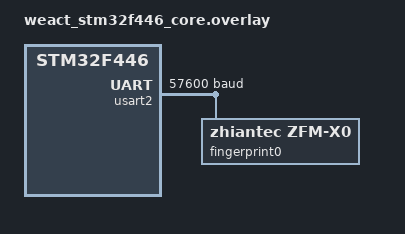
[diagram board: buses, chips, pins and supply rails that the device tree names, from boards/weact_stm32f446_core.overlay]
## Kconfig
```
menu "Biores Options"

config TEST_LEGACY_BLOCKING
	bool "Use legacy busy-wait baseline instead of BASE"
	default n
	help
	  When enabled, tau2 uses k_busy_wait(500000) to simulate
	  a vendor polling library during image capture.
	  When disabled, tau2 uses the BASE biometric subsystem
	  with interrupt-driven enroll_capture.

endmenu

source "Kconfig.zephyr"
```

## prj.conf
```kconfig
CONFIG_BIOMETRICS=y
CONFIG_BIOMETRICS_LOG_LEVEL_INF=y

CONFIG_TIMING_FUNCTIONS=y

CONFIG_STDOUT_CONSOLE=y
CONFIG_PRINTK=y
CONFIG_LOG=y
CONFIG_LOG_DEFAULT_LEVEL=3

CONFIG_MAIN_STACK_SIZE=2048

# Set to y to run legacy busy-wait baseline, n for BASE mode
CONFIG_TEST_LEGACY_BLOCKING=n

CONFIG_THREAD_ANALYZER=y
CONFIG_THREAD_ANALYZER_USE_PRINTK=y
CONFIG_THREAD_ANALYZER_AUTO=n
```

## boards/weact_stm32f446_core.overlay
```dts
/ {
	aliases {
		biometric0 = &fingerprint0;
	};
};

&usart2 {
	status = "okay";
	current-speed = <57600>;

	fingerprint0: fingerprint0 {
		compatible = "zhiantec,zfm-x0";
		status = "okay";
		comm-addr = <0xffffffff>;
	};
};
```

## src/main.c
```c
/*
 * BASE Concurrent Workload Test
 *
 * Measures deadline adherence of a high-priority control task (tau1)
 * while a low-priority biometric task (tau2) runs a 500ms capture.
 *
 * Two modes selected at compile time:
 *   CONFIG_TEST_LEGACY_BLOCKING=y  -> tau2 uses k_sched_lock + k_busy_wait
 *                                     (simulates non-preemptible vendor driver)
 *   CONFIG_TEST_LEGACY_BLOCKING=n  -> tau2 uses biometric_enroll_capture
 *                                     (BASE hybrid yielding model)
 *
 * Output over UART:
 *   [RESULT] tau1 periods: N samples, max_jitter=Xus, missed=Y
 */

#include <zephyr/device.h>
#include <zephyr/drivers/biometrics.h>
#include <zephyr/kernel.h>
#include <zephyr/logging/log.h>
#include <zephyr/sys/printk.h>
#include <zephyr/timing/timing.h>

LOG_MODULE_REGISTER(base_test, LOG_LEVEL_INF);

/* tau1: high-priority control loop, period 10ms, deadline 10ms */
#define TAU1_PERIOD_US 10000U
#define TAU1_DEADLINE_US 10000U
#define TAU1_STACK_SIZE 1024
#define TAU1_PRIORITY 2

/* tau2: low-priority biometric task */
#define TAU2_STACK_SIZE 2048
#define TAU2_PRIORITY 8

/* Number of tau1 periods to measure */
#define TAU1_SAMPLE_COUNT 200

/* Template ID used for the test enrollment */
#define TEST_TEMPLATE_ID 1U

/* Sensor device alias */
#define BIOMETRIC_NODE DT_ALIAS(biometric0)

/* Shared state */

static volatile bool test_done;
static volatile bool tau2_done;

static uint32_t tau1_jitter_us[TAU1_SAMPLE_COUNT];
static uint32_t tau1_missed;
static uint32_t tau1_sample_idx;

/* tau1 signals tau2 to start once tau1 is running */
K_SEM_DEFINE(tau2_start_sem, 0, 1);

/* tau1: high-priority periodic control task */

K_THREAD_STACK_DEFINE(tau1_stack, TAU1_STACK_SIZE);
static struct k_thread tau1_thread;

static void tau1_entry(void *p1, void *p2, void *p3) {
  ARG_UNUSED(p1);
  ARG_UNUSED(p2);
  ARG_UNUSED(p3);

  uint64_t prev_us = k_ticks_to_us_near64(k_uptime_ticks());

  /* Signal tau2 to start now that tau1 is measuring */
  k_sem_give(&tau2_start_sem);

  while (tau1_sample_idx < TAU1_SAMPLE_COUNT) {
    k_usleep(TAU1_PERIOD_US);

    uint64_t now_us = k_ticks_to_us_near64(k_uptime_ticks());
    uint64_t actual_period = now_us - prev_us;

    prev_us = now_us;

    uint32_t jitter = (actual_period > TAU1_PERIOD_US)
                          ? (uint32_t)(actual_period - TAU1_PERIOD_US)
                          : 0U;

    tau1_jitter_us[tau1_sample_idx] = jitter;

    if (actual_period >= TAU1_DEADLINE_US + 1000U) {
      tau1_missed++;
    }

    tau1_sample_idx++;
  }

  test_done = true;
}

/* tau2: low-priority biometric task */

K_THREAD_STACK_DEFINE(tau2_stack, TAU2_STACK_SIZE);
static struct k_thread tau2_thread;

static void tau2_entry(void *p1, void *p2, void *p3) {
  ARG_UNUSED(p2);
  ARG_UNUSED(p3);

  const struct device *dev = (const struct device *)p1;

  /* Wait until tau1 is measuring */
  k_sem_take(&tau2_start_sem, K_FOREVER);

#if defined(CONFIG_TEST_LEGACY_BLOCKING) && CONFIG_TEST_LEGACY_BLOCKING
  /*
   * Legacy baseline: k_sched_lock() plus k_busy_wait() models a
   * polling driver that holds scheduler lock while waiting on UART data.
   * On this single-core test setup, tau1 cannot run during the 500 ms
   * locked busy-wait window.
   *
   * Note: raw k_busy_wait() alone does not reliably model this legacy
   * behavior because it may still be preempted by normal scheduling.
   */
  LOG_INF("tau2: running LEGACY non-preemptible busy-wait mode");

  while (!test_done) {
    k_sched_lock();
    k_busy_wait(500000U); /* 500ms non-preemptible spin */
    k_sched_unlock();
    k_sleep(K_MSEC(10));
  }

#else
  /*
   * BASE mode: biometric_enroll_capture() yields the CPU to the
   * scheduler throughout the capture window via cooperative
   * k_msleep polling and semaphore-based UART synchronization.
   * tau1 runs freely during the entire capture window.
   */
  LOG_INF("tau2: running BASE hybrid yielding mode");

  int ret;

  /* Clean up any leftover template from a previous run */
  biometric_template_delete(dev, TEST_TEMPLATE_ID);

  while (!test_done) {
    struct biometric_capture_result cap = {0};

    ret = biometric_enroll_start(dev, TEST_TEMPLATE_ID);
    if (ret < 0 && ret != -EBUSY) {
      LOG_WRN("enroll_start: %d", ret);
      k_sleep(K_MSEC(100));
      continue;
    }

    /*
     * Capture loop: adapts to samples_required automatically.
     * Works for ZFM (2 samples), GT-5X (3 samples), AI10 (1).
     */
    do {
      ret = biometric_enroll_capture(dev, K_MSEC(600), &cap);
      if (ret < 0) {
        LOG_DBG("capture returned: %d", ret);
        break;
      }
    } while (cap.samples_captured < cap.samples_required);

    if (ret == 0) {
      biometric_enroll_finalize(dev);
    } else {
      biometric_enroll_abort(dev);
    }

    /* Brief pause between capture attempts */
    k_sleep(K_MSEC(50));

    /* Remove template to keep storage clean */
    biometric_template_delete(dev, TEST_TEMPLATE_ID);
  }
#endif /* CONFIG_TEST_LEGACY_BLOCKING */

  tau2_done = true;
}

/* Result reporting */

static void print_results(void) {
  uint32_t max_jitter = 0U;
  uint32_t total_jitter = 0U;

  for (uint32_t i = 0; i < TAU1_SAMPLE_COUNT; i++) {
    if (tau1_jitter_us[i] > max_jitter) {
      max_jitter = tau1_jitter_us[i];
    }
    total_jitter += tau1_jitter_us[i];
  }

  uint32_t avg_jitter = total_jitter / TAU1_SAMPLE_COUNT;

#if defined(CONFIG_TEST_LEGACY_BLOCKING) && CONFIG_TEST_LEGACY_BLOCKING
  const char *mode = "LEGACY (non-preemptible busy-wait)";
#else
  const char *mode = "BASE (hybrid yielding)";
#endif

  printk("\n========================================\n");
  printk(" BASE Concurrent Workload Test Results\n");
  printk("========================================\n");
  printk(" Mode             : %s\n", mode);
  printk(" tau1 samples     : %u\n", TAU1_SAMPLE_COUNT);
  printk(" tau1 period      : %u us\n", TAU1_PERIOD_US);
  printk(" tau1 deadline    : %u us\n", TAU1_DEADLINE_US);
  printk(" Max jitter       : %u us\n", max_jitter);
  printk(" Avg jitter       : %u us\n", avg_jitter);
  printk(" Missed deadlines : %u / %u\n", tau1_missed, TAU1_SAMPLE_COUNT);
  printk("========================================\n\n");

  printk("CSV: mode,max_jitter_us,avg_jitter_us,missed\n");
  printk("CSV: %s,%u,%u,%u\n", mode, max_jitter, avg_jitter, tau1_missed);
}

int main(void) {
  const struct device *bio_dev = DEVICE_DT_GET(BIOMETRIC_NODE);

  if (!device_is_ready(bio_dev)) {
    printk("ERROR: biometric device not ready\n");
    return -ENODEV;
  }

  printk("BASE concurrent workload test starting\n");

#if defined(CONFIG_TEST_LEGACY_BLOCKING) && CONFIG_TEST_LEGACY_BLOCKING
  printk("Mode: LEGACY non-preemptible busy-wait baseline\n");
#else
  printk("Mode: BASE hybrid yielding\n");
#endif

  timing_init();
  timing_start();

  tau2_done = false;
  test_done = false;
  tau1_missed = 0U;
  tau1_sample_idx = 0U;

  /* Start tau2 first at lower priority */
  k_thread_create(&tau2_thread, tau2_stack, K_THREAD_STACK_SIZEOF(tau2_stack),
                  tau2_entry, (void *)bio_dev, NULL, NULL, TAU2_PRIORITY, 0,
                  K_NO_WAIT);
  k_thread_name_set(&tau2_thread, "tau2_biometric");

  /* Start tau1 at higher priority, it signals tau2 when ready */
  k_thread_create(&tau1_thread, tau1_stack, K_THREAD_STACK_SIZEOF(tau1_stack),
                  tau1_entry, NULL, NULL, NULL, TAU1_PRIORITY, 0, K_NO_WAIT);
  k_thread_name_set(&tau1_thread, "tau1_control");

  /* Wait for tau1 to finish its sample window */
  k_thread_join(&tau1_thread, K_SECONDS(30));

  /* tau2 will notice test_done and exit */
  k_thread_join(&tau2_thread, K_SECONDS(5));

  timing_stop();

  print_results();

  return 0;
}
```
